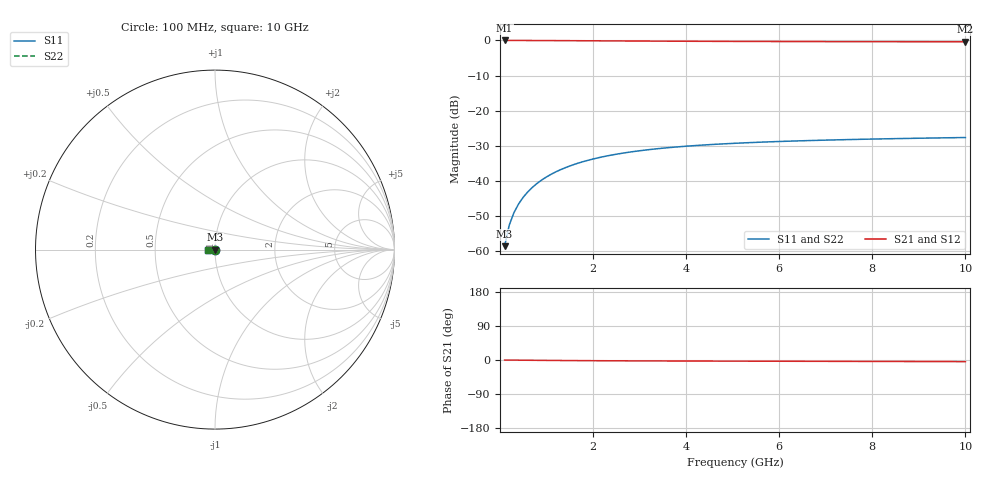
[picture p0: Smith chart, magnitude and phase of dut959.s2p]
! Touchstone file exported from HFSS 2024.1.0
!  File:  C:/UserFiles/LocalFiles/RDL_TSV_Batchsim/temp_TSV1_959_1779950129.aedt
!  Generated:  02:43:09 PM May 28, 2026
!  Design:  TSV1
!  Project:  temp_TSV1_959_1779950129
!  Setup:  Setup1
!  Solution:  Sweep
! Variables:
!  dtsv = 12.23um
!  hbump = 3um
!  htsv = 64.67um
!  lrdl = 252.1521522um
!  p = 40
!  p1 = 52.65um
!  t = 500um
!  trdl = 3um
!  wrdl = 24.89489489um
# GHz S MA R 50.000000
! Terminal data exported
! Port[1] = TSV22_T1
! Port[2] = TSV22_T2
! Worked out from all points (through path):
!   100 points, 100 MHz to 10 GHz, reference 50 ohm
!   highest |S21| = 0.00 dB at 100 MHz (marker M1); lowest = -0.4 dB at 10 GHz (marker M2)
!   lowest |S11| = -58.5 dB at 100 MHz (marker M3), VSWR 1.00, Z = 50 - j0.118 ohm
!   |S11| at or under -10 dB: start of sweep to end of sweep
!   |S22| runs from -58.5 to -27.6 dB; largest |S21 - S12| = 3.2e-15
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0.1  0.001185 -87.7  0.9999 -0.1  0.9999 -0.1  0.001185 -87.7
! Gamma 0 0 0 0
! Port Impedance 50 0 50 0
0.2  0.002366 -91.4  0.9997 -0.2  0.9997 -0.2  0.002366 -91.4
0.3  0.003546 -93.9  0.9995 -0.3  0.9995 -0.3  0.003546 -93.9
0.4  0.004721 -96.0  0.9993 -0.4  0.9993 -0.4  0.004721 -96.0
0.5  0.005886 -98.0  0.9989 -0.5  0.9989 -0.5  0.005886 -98.0
0.6  0.007037 -99.9  0.9985 -0.7  0.9985 -0.7  0.007037 -99.9
0.7  0.008171 -101.8  0.998 -0.8  0.998 -0.8  0.008171 -101.8
0.8  0.009286 -103.7  0.9975 -0.9  0.9975 -0.9  0.009286 -103.7
0.9  0.01038 -105.5  0.9969 -1.0  0.9969 -1.0  0.01038 -105.5
1.1  0.01249 -109.0  0.9956 -1.1  0.9956 -1.1  0.01249 -109.0
1.4  0.01545 -114.0  0.9934 -1.4  0.9934 -1.4  0.01545 -114.0
1.6  0.01728 -117.1  0.9919 -1.6  0.9919 -1.6  0.01728 -117.1
1.8  0.01899 -120.1  0.9902 -1.7  0.9902 -1.7  0.01899 -120.1
2.1  0.02134 -124.4  0.9877 -1.9  0.9877 -1.9  0.02134 -124.4
2.5  0.02409 -129.5  0.9845 -2.1  0.9845 -2.1  0.02409 -129.5
2.9  0.02644 -134.2  0.9814 -2.3  0.9814 -2.3  0.02644 -134.2
3.4  0.0289 -139.4  0.9779 -2.5  0.9779 -2.5  0.0289 -139.4
4.2  0.03199 -146.5  0.9731 -2.8  0.9731 -2.8  0.03199 -146.5
5.1  0.03458 -153.1  0.9689 -3.0  0.9689 -3.0  0.03458 -153.1
6.7  0.03775 -162.5  0.9635 -3.5  0.9635 -3.5  0.03775 -162.5
8.4  0.04002 -170.3  0.9597 -3.9  0.9597 -3.9  0.04002 -170.3
10  0.04161 -176.4  0.9573 -4.3  0.9573 -4.3  0.04161 -176.4
